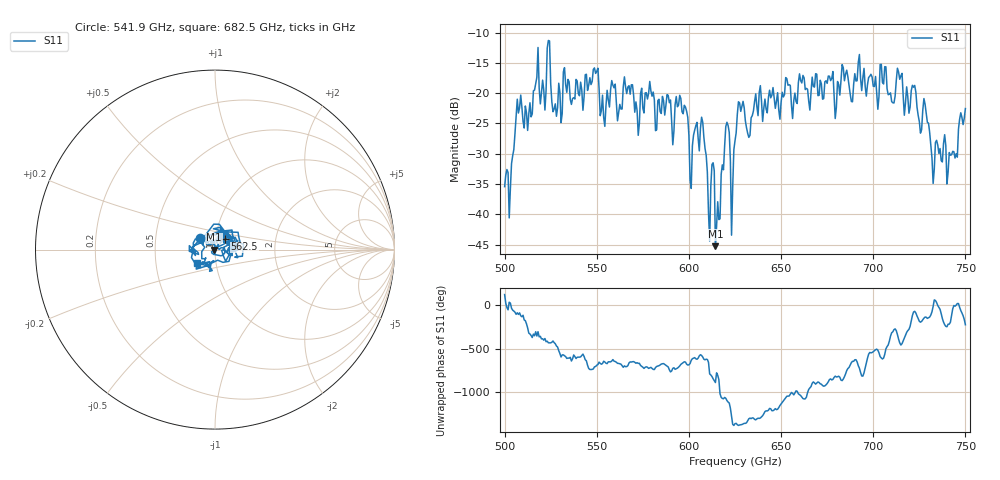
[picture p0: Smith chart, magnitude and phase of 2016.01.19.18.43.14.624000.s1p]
!Created with skrf (http://scikit-rf.org).
# GHz S RI R 50.0
!freq ReS11 ImS11
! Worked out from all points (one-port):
!   401 points, 500 GHz to 750 GHz, reference 50 ohm
!   lowest |S11| = -45.3 dB at 614.4 GHz (marker M1), VSWR 1.01, Z = 49.5 - j0.0914 ohm
!   |S11| at or under -10 dB: start of sweep to end of sweep
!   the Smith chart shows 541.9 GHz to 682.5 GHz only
!   S11 on the Smith chart (normalised r, x): 541.9 GHz: 0.84, +0.11; 562.5 GHz: 1.11, +0.13; 682.5 GHz: 0.81, -0.13
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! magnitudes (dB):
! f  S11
! 500 GHz  -35.4
! 503.8 GHz  -31.7
! 507.5 GHz  -23.3
! 513.8 GHz  -21.6
! 516.9 GHz  -18.4
! 531.2 GHz  -23.4
! 541.9 GHz  -19.5
! 549.4 GHz  -16.7
! 553.1 GHz  -20.3
! 558.8 GHz  -18.7
! 562.5 GHz  -21.9
! 593.8 GHz  -22.2
! 601.2 GHz  -35.7
! 607.5 GHz  -24.8
! 610.6 GHz  -39.8
! 614.4 GHz  -45.3
! 615.6 GHz  -37.9
! 620.6 GHz  -24.8
! 623.1 GHz  -43.5
! 625 GHz  -27.9
! 628.1 GHz  -23.0
! 631.9 GHz  -26.6
! 656.2 GHz  -24.2
! 682.5 GHz  -17.9
! 687.5 GHz  -20.1
! 718.8 GHz  -20.6
! 741.2 GHz  -29.8
! 750 GHz  -22.5
